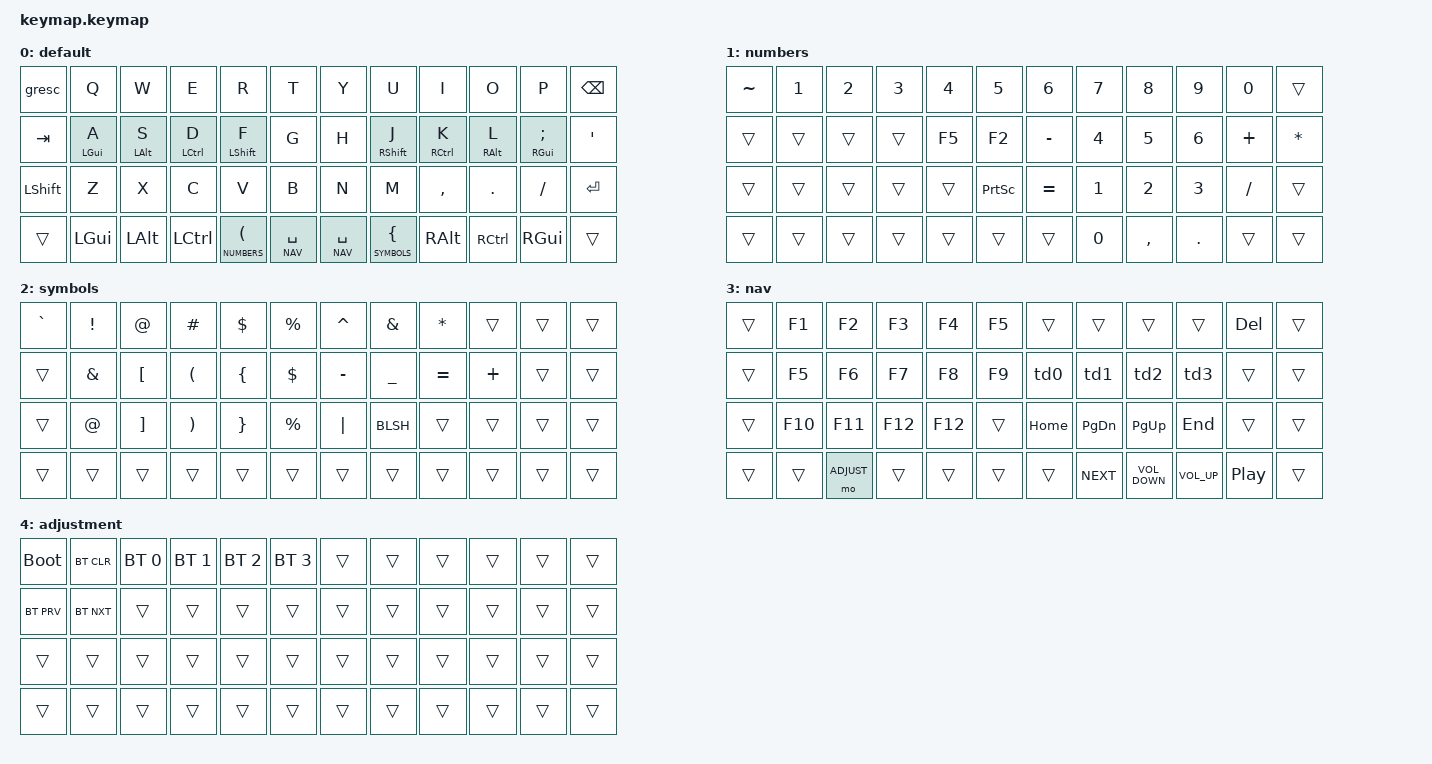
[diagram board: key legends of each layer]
/*
 * Copyright (c) 2021 swampmonster
 *
 * SPDX-License-Identifier: MIT
 */

#include <behaviors.dtsi>
#include <dt-bindings/zmk/keys.h>
#include <dt-bindings/zmk/bt.h>

#define DEFAULT 0
#define NUMBERS 1
#define SYMBOLS 2
#define NAV     3
#define ADJUST  4

/ {

    behaviors {
        hm: homerow_mods {
            compatible = "zmk,behavior-hold-tap";
            label = "HOMEROW_MODS";
            #binding-cells = <2>;
            tapping-term-ms = <200>;
            quick_tap_ms = <0>;
            flavor = "tap-preferred";
            bindings = <&kp>, <&kp>;
        };

        td0: tap_dance_0 {
            compatible = "zmk,behavior-tap-dance";
            label = "TAP_DANCE_0";
            #binding-cells = <0>;
            tapping-term-ms = <200>;
            bindings = <&kp LEFT>, <&kp LC(LEFT)>;
        };

        td1: tap_dance_1 {
            compatible = "zmk,behavior-tap-dance";
            label = "TAP_DANCE_1";
            #binding-cells = <0>;
            tapping-term-ms = <200>;
            bindings = <&kp DOWN>, <&kp LC(DOWN)>;
        };

         td2: tap_dance_2 {
            compatible = "zmk,behavior-tap-dance";
            label = "TAP_DANCE_2";
            #binding-cells = <0>;
            tapping-term-ms = <200>;
            bindings = <&kp UP>, <&kp LC(UP)>;
        };

        td3: tap_dance_3 {
            compatible = "zmk,behavior-tap-dance";
            label = "TAP_DANCE_3";
            #binding-cells = <0>;
            tapping-term-ms = <200>;
            bindings = <&kp RIGHT>, <&kp LC(RIGHT)>;
        };
    };

  keymap {
    compatible = "zmk,keymap";

    default {
      bindings = <
              &gresc      &kp Q       &kp W       &kp E        &kp R              &kp T          &kp Y          &kp U              &kp I        &kp O       &kp P          &kp BSPC
              &kp TAB     &hm LGUI A  &hm LALT S  &hm LCTRL D  &hm LSHFT F        &kp G          &kp H          &hm RSHFT J        &hm RCTRL K  &hm RALT L  &hm RGUI SEMI  &kp SQT
              &kp LSHFT   &kp Z       &kp X       &kp C        &kp V              &kp B          &kp N          &kp M              &kp COMMA    &kp DOT     &kp FSLH       &kp RET
              &trans      &kp LGUI    &kp LALT    &kp LCTRL    &lt NUMBERS LPAR   &lt NAV SPACE  &lt NAV SPACE  &lt SYMBOLS LBRC   &kp RALT     &kp RCTRL   &kp RGUI       &trans
      >;
    };

    numbers {
      bindings = <
            &kp TILDE  &kp N1  &kp N2   &kp N3   &kp N4   &kp N5     &kp N6     &kp N7  &kp N8     &kp N9   &kp N0     &trans
            &trans     &trans  &trans   &trans   &kp F5   &kp F2     &kp MINUS  &kp N4  &kp N5     &kp N6   &kp PLUS   &kp ASTRK
            &trans     &trans  &trans   &trans   &trans   &kp PSCRN  &kp EQUAL  &kp N1  &kp N2     &kp N3   &kp SLASH  &trans
            &trans     &trans  &trans   &trans   &trans   &trans     &trans     &kp N0  &kp COMMA  &kp DOT  &trans     &trans
      >;
    };

    symbols {
      bindings = <
            &kp GRAVE  &kp EXCL  &kp AT    &kp HASH  &kp DLLR  &kp PRCNT  &kp CARET  &kp AMPS        &kp ASTERISK  &trans    &trans  &trans
            &trans     &kp AMPS  &kp LBKT  &kp LPAR  &kp LBRC  &kp DLLR   &kp MINUS  &kp UNDERSCORE  &kp EQUAL     &kp PLUS  &trans  &trans
            &trans     &kp AT    &kp RBKT  &kp RPAR  &kp RBRC  &kp PRCNT  &kp PIPE   &kp BLSH        &trans        &trans    &trans  &trans
            &trans     &trans    &trans    &trans    &trans    &trans     &trans     &trans          &trans        &trans    &trans  &trans
      >;
    };

    nav {
      bindings = <
            &trans  &kp F1    &kp F2      &kp F3   &kp F4   &kp F5   &trans    &trans      &trans          &trans         &kp DEL   &trans
            &trans  &kp F5    &kp F6      &kp F7   &kp F8   &kp F9   &kp td0   &kp td1     &kp td2         &kp td3        &trans    &trans
            &trans  &kp F10   &kp F11     &kp F12  &kp F12  &trans   &kp HOME  &kp PG_DN   &kp PG_UP       &kp END        &trans    &trans
            &trans  &trans    &mo ADJUST  &trans   &trans   &trans   &trans    &kp C_NEXT  &kp C_VOL_DOWN  &kp C_VOL_UP   &kp C_PP  &trans
      >;
    };

    adjustment {
        bindings = <
            &bootloader  &bt BT_CLR  &bt BT_SEL 0   &bt BT_SEL 1  &bt BT_SEL 2  &bt BT_SEL 3  &trans  &trans  &trans  &trans  &trans  &trans
            &bt BT_PRV   &bt BT_NXT  &trans         &trans        &trans        &trans        &trans  &trans  &trans  &trans  &trans  &trans
            &trans       &trans      &trans         &trans        &trans        &trans        &trans  &trans  &trans  &trans  &trans  &trans
            &trans       &trans      &trans         &trans        &trans        &trans        &trans  &trans  &trans  &trans  &trans  &trans
        >;
    };
  };
};
